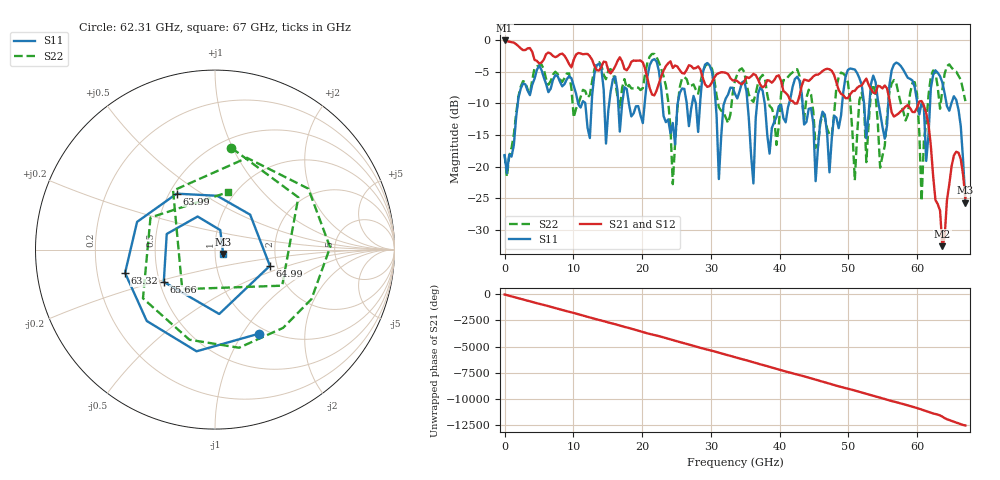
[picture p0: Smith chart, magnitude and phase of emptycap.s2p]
!Keysight Technologies,N5247B,US55470547,A.17.35.10
!Date: Thursday, May 02, 2024 13:51:29
!Correction: S11(C  2-Port  )
!S21(C  2-Port  )
!S12(C  2-Port  )
!S22(C  2-Port  )
!S2P File: Measurements: S11, S21, S12, S22:
# Hz S  dB  R 50
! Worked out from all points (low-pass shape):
!   201 points, 10 MHz to 67 GHz, reference 50 ohm
!   highest |S21| = -0.08 dB at 10 MHz (marker M1); lowest = -32.6 dB at 63.65 GHz (marker M2)
!   |S21| within 3 dB of the highest: start of sweep to 4.344 GHz; 5.714 GHz to 9.051 GHz (3.336 GHz wide, 45.2 % of centre) (the widest 2 of 4)
!   lowest |S11| = -25.7 dB at 67 GHz (marker M3), VSWR 1.11, Z = 54.7 - j2.73 ohm
!   |S11| at or under -10 dB: 18.08 GHz to 20.38 GHz (2.301 GHz wide, 12 % of centre); 37.82 GHz to 41.37 GHz (3.549 GHz wide, 8.96 % of centre); 43.32 GHz to 49.09 GHz (5.772 GHz wide, 12.5 % of centre) (the widest 3 of 19)
!   |S22| runs from -25.4 to -2.2 dB; largest |S21 - S12| = 0.0029
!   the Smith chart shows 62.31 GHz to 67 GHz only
!   S11 on the Smith chart (normalised r, x): 62.31 GHz: 0.91, -1.18; 63.32 GHz: 0.32, -0.11; 63.99 GHz: 0.55, +0.40; 64.99 GHz: 1.83, -0.37; 65.66 GHz: 0.53, -0.21; 67 GHz: 1.09, -0.05
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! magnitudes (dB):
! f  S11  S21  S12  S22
! 10 MHz  -18.2  -0.1  -0.1  -18.1
! 11.4 GHz  -9.7  -2.3  -2.3  -7.9
! 22.45 GHz  -4.9  -6.9  -6.9  -3.5
! 24.46 GHz  -13.1  -4.4  -4.4  -22.8
! 25.8 GHz  -7.7  -5.2  -5.2  -6.1
! 29.82 GHz  -4.0  -7.3  -7.3  -3.9
! 31.16 GHz  -22.0  -5.2  -5.2  -10.6
! 33.51 GHz  -8.5  -6.4  -6.4  -6.4
! 36.18 GHz  -22.7  -5.4  -5.4  -9.8
! 37.19 GHz  -7.4  -7.1  -7.1  -5.9
! 44.89 GHz  -13.2  -5.8  -5.8  -11.4
! 50.92 GHz  -4.7  -8.0  -8.0  -22.2
! 55.95 GHz  -7.2  -9.3  -9.4  -8.3
! 59.63 GHz  -7.4  -11.4  -11.4  -6.7
! 60.64 GHz  -9.9  -9.6  -9.6  -25.4
! 62.31 GHz  -5.5  -21.5  -21.5  -4.8
! 63.32 GHz  -5.7  -26.9  -26.9  -10.9
! 63.65 GHz  -6.7  -32.6  -32.5  -7.9
! 63.99 GHz  -8.5  -31.1  -31.1  -5.3
! 64.99 GHz  -9.9  -20.0  -20.0  -4.4
! 65.66 GHz  -9.4  -17.7  -17.7  -5.0
! 67 GHz  -25.7  -25.0  -25.0  -9.7
